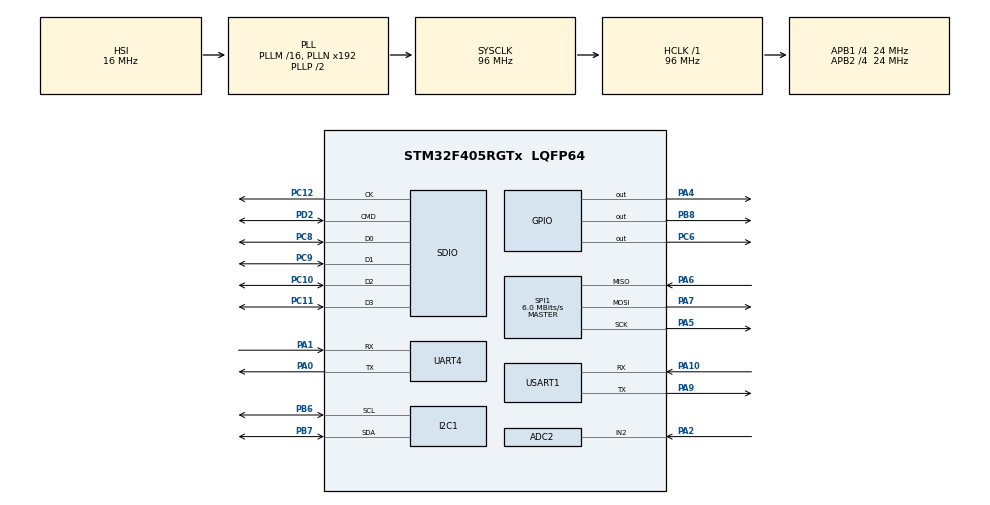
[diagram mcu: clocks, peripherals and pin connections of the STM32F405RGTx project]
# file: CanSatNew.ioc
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ADC2.Channel-0\#ChannelRegularConversion=ADC_CHANNEL_2
ADC2.ClockPrescaler=ADC_CLOCK_SYNC_PCLK_DIV2
ADC2.ContinuousConvMode=DISABLE
ADC2.DMAContinuousRequests=DISABLE
ADC2.DataAlign=ADC_DATAALIGN_RIGHT
ADC2.DiscontinuousConvMode=DISABLE
ADC2.EOCSelection=ADC_EOC_SINGLE_CONV
ADC2.EnableAnalogWatchDog=false
ADC2.ExternalTrigConv=ADC_SOFTWARE_START
ADC2.ExternalTrigConvEdge=ADC_EXTERNALTRIGCONVEDGE_NONE
ADC2.InjNumberOfConversion=0
ADC2.NbrOfConversion=1
ADC2.NbrOfConversionFlag=1
ADC2.Rank-0\#ChannelRegularConversion=1
ADC2.Resolution=ADC_RESOLUTION_12B
ADC2.SamplingTime-0\#ChannelRegularConversion=ADC_SAMPLETIME_3CYCLES
ADC2.ScanConvMode=DISABLE
FATFS.BSP.number=1
FATFS.USE_DMA_CODE_SD=0
FATFS0.BSP.STBoard=false
FATFS0.BSP.api=UnknownBspDriver
FATFS0.BSP.i2caddr=0
FATFS0.BSP.i2creg=0
FATFS0.BSP.instance=No Solution found
FATFS0.BSP.ip=GPIO
FATFS0.BSP.mode=Input
FATFS0.BSP.name=Detect_SDIO
FATFS0.BSP.solution=No Solution found
I2C1.DualAddressMode=I2C_DUALADDRESS_ENABLE
I2C1.NoStretchMode=I2C_NOSTRETCH_ENABLE
Mcu.Family=STM32F4
Mcu.Name=STM32F405RGTx
Mcu.Package=LQFP64
NVIC.PriorityGroup=NVIC_PRIORITYGROUP_4
NVIC.UART4_IRQn=true\:0\:0\:false\:false\:true\:true
PA0-WKUP.Mode=Asynchronous
PA0-WKUP.Signal=UART4_TX
PA1.Mode=Asynchronous
PA1.Signal=UART4_RX
PA10.Mode=Asynchronous
PA10.Signal=USART1_RX
PA13.Mode=JTAG_5_pins
PA13.Signal=SYS_JTMS-SWDIO
PA14.Mode=JTAG_5_pins
PA14.Signal=SYS_JTCK-SWCLK
PA15.Mode=JTAG_5_pins
PA15.Signal=SYS_JTDI
PA2.Signal=ADCx_IN2
PA4.GPIO_Speed=GPIO_SPEED_FREQ_VERY_HIGH
PA4.PinState=GPIO_PIN_SET
PA4.Signal=GPIO_Output
PA5.Mode=Full_Duplex_Master
PA5.Signal=SPI1_SCK
PA6.Mode=Full_Duplex_Master
PA6.Signal=SPI1_MISO
PA7.Mode=Full_Duplex_Master
PA7.Signal=SPI1_MOSI
PA9.Mode=Asynchronous
PA9.Signal=USART1_TX
PB3.Mode=JTAG_5_pins
PB3.Signal=SYS_JTDO-SWO
PB4.Mode=JTAG_5_pins
PB4.Signal=SYS_JTRST
PB6.Mode=I2C
PB6.Signal=I2C1_SCL
PB7.Mode=I2C
PB7.Signal=I2C1_SDA
PB8.GPIO_Speed=GPIO_SPEED_FREQ_VERY_HIGH
PB8.PinState=GPIO_PIN_SET
PB8.Signal=GPIO_Output
PC10.Mode=SD_4_bits_Wide_bus
PC10.Signal=SDIO_D2
PC11.Mode=SD_4_bits_Wide_bus
PC11.Signal=SDIO_D3
PC12.Mode=SD_4_bits_Wide_bus
PC12.Signal=SDIO_CK
PC6.Signal=GPIO_Output
PC8.Mode=SD_4_bits_Wide_bus
PC8.Signal=SDIO_D0
PC9.Mode=SD_4_bits_Wide_bus
PC9.Signal=SDIO_D1
PD2.Mode=SD_4_bits_Wide_bus
PD2.Signal=SDIO_CMD
ProjectManager.HeapSize=0x200
ProjectManager.StackSize=0x400
ProjectManager.TargetToolchain=TrueSTUDIO
RCC.48MHZClocksFreq_Value=27428571.42857143
RCC.AHBFreq_Value=96000000
RCC.APB1CLKDivider=RCC_HCLK_DIV4
RCC.APB1Freq_Value=24000000
RCC.APB1TimFreq_Value=48000000
RCC.APB2CLKDivider=RCC_HCLK_DIV4
RCC.APB2Freq_Value=24000000
RCC.APB2TimFreq_Value=48000000
RCC.CortexFreq_Value=96000000
RCC.HCLKFreq_Value=96000000
RCC.HSE_VALUE=8000000
RCC.HSI_VALUE=16000000
RCC.LSE_VALUE=32768
RCC.PLLQ=7
RCC.SYSCLKFreq_VALUE=96000000
RCC.SYSCLKSource=RCC_SYSCLKSOURCE_PLLCLK
RCC.VCOOutputFreq_Value=192000000
SH.ADCx_IN2.0=ADC2_IN2,IN2
SPI1.BaudRatePrescaler=SPI_BAUDRATEPRESCALER_4
SPI1.CalculateBaudRate=6.0 MBits/s
SPI1.Direction=SPI_DIRECTION_2LINES
SPI1.Mode=SPI_MODE_MASTER
SPI1.VirtualType=VM_MASTER
UART4.VirtualMode=Asynchronous
USART1.VirtualMode=VM_ASYNC
VP_FATFS_VS_SDIO.Mode=SDIO
board=CanSatNew

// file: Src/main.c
/**
  ******************************************************************************
  * @file           : main.c
  * @brief          : Main program body
  ******************************************************************************
  * This notice applies to any and all portions of this file
  * that are not between comment pairs USER CODE BEGIN and
  * USER CODE END. Other portions of this file, whether
  * inserted by the user or by software development tools
  * are owned by their respective copyright owners.
  *
  * Copyright (c) 2020 STMicroelectronics International N.V.
  * All rights reserved.
  *
  * Redistribution and use in source and binary forms, with or without
  * modification, are permitted, provided that the following conditions are met:
  *
  * 1. Redistribution of source code must retain the above copyright notice,
  *    this list of conditions and the following disclaimer.
  * 2. Redistributions in binary form must reproduce the above copyright notice,
  *    this list of conditions and the following disclaimer in the documentation
  *    and/or other materials provided with the distribution.
  * 3. Neither the name of STMicroelectronics nor the names of other
  *    contributors to this software may be used to endorse or promote products
  *    derived from this software without specific written permission.
  * 4. This software, including modifications and/or derivative works of this
  *    software, must execute solely and exclusively on microcontroller or
  *    microprocessor devices manufactured by or for STMicroelectronics.
  * 5. Redistribution and use of this software other than as permitted under
  *    this license is void and will automatically terminate your rights under
  *    this license.
  *
  * THIS SOFTWARE IS PROVIDED BY STMICROELECTRONICS AND CONTRIBUTORS "AS IS"
  * AND ANY EXPRESS, IMPLIED OR STATUTORY WARRANTIES, INCLUDING, BUT NOT
  * LIMITED TO, THE IMPLIED WARRANTIES OF MERCHANTABILITY, FITNESS FOR A
  * PARTICULAR PURPOSE AND NON-INFRINGEMENT OF THIRD PARTY INTELLECTUAL PROPERTY
  * RIGHTS ARE DISCLAIMED TO THE FULLEST EXTENT PERMITTED BY LAW. IN NO EVENT
  * SHALL STMICROELECTRONICS OR CONTRIBUTORS BE LIABLE FOR ANY DIRECT, INDIRECT,
  * INCIDENTAL, SPECIAL, EXEMPLARY, OR CONSEQUENTIAL DAMAGES (INCLUDING, BUT NOT
  * LIMITED TO, PROCUREMENT OF SUBSTITUTE GOODS OR SERVICES; LOSS OF USE, DATA,
  * OR PROFITS; OR BUSINESS INTERRUPTION) HOWEVER CAUSED AND ON ANY THEORY OF
  * LIABILITY, WHETHER IN CONTRACT, STRICT LIABILITY, OR TORT (INCLUDING
  * NEGLIGENCE OR OTHERWISE) ARISING IN ANY WAY OUT OF THE USE OF THIS SOFTWARE,
  * EVEN IF ADVISED OF THE POSSIBILITY OF SUCH DAMAGE.
  *
  ******************************************************************************
  */
#include "main.h"
#include "stm32f4xx_hal.h"
#include "adc.h"
#include "fatfs.h"
#include "i2c.h"
#include "sdio.h"
#include "spi.h"
#include "usart.h"
#include "gpio.h"

/* USER CODE BEGIN Includes */
#include "math.h"
#include "bmp280.h"
#include "bmi160.h"
// LORA
//#include "SX1278.h"
#include "lora_sx1276.h"
/* USER CODE END Includes */

/* USER CODE BEGIN PV */
/* Private variables ---------------------------------------------------------*/
char buf[128];
FATFS fs;
FIL file;
uint32_t byteswritten;
BMP280_HandleTypedef bmp280;
float temp, pres, humi, alti, s_pres;
struct bmi160_dev bmi160;
struct bmi160_sensor_data bmi160Accel, bmi160Gyro;
int usePhotoresist = 0;
/* USER CODE END PV */

void SystemClock_Config(void);

/* USER CODE BEGIN PFP */
/* Private function prototypes -----------------------------------------------*/

/* USER CODE END PFP */

/* USER CODE BEGIN 0 */
char gpsBuffer[650];
uint8_t h, m, s, ms;
// GPS
char rxCharBuf[700];
char *rxChars;
uint8_t rxBuffer[512];
uint16_t rxIndex;
uint8_t rxTmp;

// LORA
//uint16_t message,message_length;

void HAL_UART_RxCpltCallback(UART_HandleTypeDef *huart) {
  if(huart == &huart4) {
	if(rxIndex < 512) {
	  rxBuffer[rxIndex] = rxTmp;
	  rxIndex++;
	}
    HAL_UART_Receive_IT(&huart4, &rxTmp, 1);
  }
}

int8_t i2cWrite(uint8_t addr, uint8_t reg, uint8_t *data, uint16_t len) {
	HAL_StatusTypeDef status = HAL_I2C_Mem_Write(&hi2c1, addr << 1, reg, 1, (uint8_t*)data, len, 1000);
	return status;
}

int8_t i2cRead(uint8_t addr, uint8_t reg, uint8_t *data, uint16_t len) {
	HAL_StatusTypeDef status = HAL_I2C_Mem_Read(&hi2c1, addr << 1, reg, 1, (uint8_t*)data, len, 1000);
	return status;
}
/* USER CODE END 0 */

int main(void)
{

  /* MCU Configuration----------------------------------------------------------*/

  /* Reset of all peripherals, Initializes the Flash interface and the Systick. */
  HAL_Init();

  /* Configure the system clock */
  SystemClock_Config();

  /* Initialize all configured peripherals */
  MX_GPIO_Init();
  MX_I2C1_Init();
  MX_SDIO_SD_Init();
  MX_UART4_Init();
  MX_FATFS_Init();
  MX_USART1_UART_Init();
  MX_SPI1_Init();
  MX_ADC2_Init();
  /* USER CODE BEGIN 2 */
  //rxIndex = 0;
  //HAL_UART_Receive_IT(&huart4, &rxTmp, 1);

  /*bmi160.id = BMI160_I2C_ADDR;
  bmi160.interface = BMI160_I2C_INTF;
  bmi160.read = i2cRead;
  bmi160.write = i2cWrite;
  bmi160.delay_ms = HAL_Delay;
  int8_t result = BMI160_E_DEV_NOT_FOUND;
  result = bmi160_init(&bmi160);

  bmi160.accel_cfg.odr = BMI160_ACCEL_ODR_1600HZ;
  bmi160.accel_cfg.range = BMI160_ACCEL_RANGE_2G;
  bmi160.accel_cfg.bw = BMI160_ACCEL_BW_NORMAL_AVG4;
  bmi160.accel_cfg.power = BMI160_ACCEL_NORMAL_MODE;
  bmi160.gyro_cfg.odr = BMI160_GYRO_ODR_3200HZ;
  bmi160.gyro_cfg.range = BMI160_GYRO_RANGE_2000_DPS;
  bmi160.gyro_cfg.bw = BMI160_GYRO_BW_NORMAL_MODE;
  bmi160.gyro_cfg.power = BMI160_GYRO_NORMAL_MODE;
  result = bmi160_set_sens_conf(&bmi160);

  bmp280_init_default_params(&bmp280.params);
  bmp280.addr = BMP280_I2C_ADDRESS_0;
  bmp280.i2c = &hi2c1;
  bmp280_init(&bmp280, &bmp280.params);

  HAL_Delay(100);*/

  //bmp280_read_float(&bmp280, NULL, &s_pres, NULL);
  //s_pres /= 133.322F; // to mm Hg

  // LORA
  /*lora_sx1276 lora;
  lora.spi = &hspi1;
  lora.nss_port = GPIOA;
  lora.nss_pin = GPIO_PIN_4;
  lora.frequency = 434000000;
  lora.pa_mode = LORA_PA_OUTPUT_PA_BOOST;
  lora.tx_base_addr = LORA_DEFAULT_TX_ADDR;
  lora.rx_base_addr = LORA_DEFAULT_RX_ADDR;
  lora.spi_timeout = LORA_DEFAULT_SPI_TIMEOUT;

  HAL_GPIO_WritePin(GPIOB, GPIO_PIN_8, GPIO_PIN_RESET);
  HAL_Delay(1);
  HAL_GPIO_WritePin(GPIOB, GPIO_PIN_8, GPIO_PIN_SET);
  HAL_Delay(250);

  uint8_t mode = read_register(&lora, 0x01);
  HAL_Delay(250);
  uint8_t init = 0xAA;
  init = lora_init(&lora, &hspi1, GPIOA, GPIO_PIN_4, 434000000);*/
  // end

  /* USER CODE END 2 */

  /* Infinite loop */
  while (1)
  {

  /* USER CODE BEGIN 3 */
    //if(rxIndex == 512) {
	  	/*result = bmi160_get_sensor_data(BMI160_ACCEL_SEL | BMI160_GYRO_SEL, &bmi160Accel, &bmi160Gyro, &bmi160);
    	bmp280_read_float(&bmp280, &temp, &pres, &humi);

    	pres /= 133.322F; // to mm Hg
    	alti = 44330.0F * (1.0F - powf(pres / s_pres, 1.0F / 5.255F));
    	pres *= 133.322F; // to Pa

    	rxChars = (char*)rxBuffer;

    	float
		ax = (bmi160Accel.x * 2.0F) / 32768.0F,
		ay = (bmi160Accel.y * 2.0F) / 32768.0F,
		az = (bmi160Accel.z * 2.0F) / 32768.0F,
		gx = (bmi160Gyro.x * 2000.0F) / 32768.0F,
		gy = (bmi160Gyro.y * 2000.0F) / 32768.0F,
		gz = (bmi160Gyro.z * 2000.0F) / 32768.0F;

    	h = 0; m = 0; s = 0; ms = 0;*/
    	//memset(gpsBuffer, 0, sizeof(gpsBuffer));
    	//sprintf(gpsBuffer, "%s", rxChars); // если вместо %2d написать %2hhd в часах, то показывают только их
    	//sscanf(strstr(rxChars, "$GNGGA,"), "$GNGGA,%2d%2d%2d.%2d\r\n", &h, &m, &s, &ms);

    	/*sprintf(
    	  rxCharBuf,
		  "GPSDATA: %s; RMC: %d:%d:%d.%d, TIME: %d, TEMP: %.2fC, PRES: %.2fPa, HUMI: %.2f, ALTI: %.2fM, A: %.2f : %.2f : %.2f, G: %.2f : %.2f : %.2f;\r\n",
		  rxChars, h, m, s, ms, HAL_GetTick(), temp, pres, humi, alti, ax, ay, az, gx, gy, gz
    	);

    	f_mount(&fs, "", 0);
        f_open(&file, "file.txt", FA_OPEN_ALWAYS | FA_WRITE);
    	f_lseek(&file, f_size(&file));
    	f_write(&file, rxCharBuf, sizeof(rxCharBuf), &byteswritten);
    	f_close(&file);
    	f_mount(NULL, "", 0);*/

    	//rxChars = 0;
    	//memset(rxBuffer, 0, sizeof(rxBuffer));
    	//rxIndex = 0;
    //}
    //HAL_UART_Receive_IT(&huart4, &rxTmp, 1);
    //HAL_Delay(100);

    // LORA
	/*char dataBuf[64];
	uint8_t dataSize = sprintf(dataBuf, "HELLO!\r\n");
	uint8_t transmit = 0xAA;
	transmit = lora_send_packet_blocking(&lora, (uint8_t*)dataBuf, dataSize, 1000);

	uint16_t size = sprintf(rxCharBuf, "REG OP MODE : 0x%x\r\n LORA INIT: 0x%x\r\n LORA_TRANSMIT: 0x%x\r\n", mode, init, transmit);
	f_mount(&fs, "", 0);
	f_open(&file, "file.txt", FA_OPEN_ALWAYS | FA_WRITE);
	f_lseek(&file, f_size(&file));
	f_write(&file, rxCharBuf, size, &byteswritten);
	f_close(&file);
	f_mount(NULL, "", 0);
	HAL_Delay(500);*/

	// ADC Photoresistor
	HAL_ADCEx_InjectedStart(&hadc2);
	HAL_ADCEx_InjectedPollForConversion(&hadc2, 1000);
	uint32_t photoresistor = HAL_ADCEx_InjectedGetValue(&hadc2, 1);
	HAL_ADCEx_InjectedStop(&hadc2);

	// use photoresist for burning wire
	if(photoresistor >= 2000 && usePhotoresist == 0) {
		usePhotoresist = 1;
		// enable PC6
		HAL_GPIO_WritePin(GPIOC, GPIO_PIN_6, GPIO_PIN_SET);
		HAL_Delay(500);
		HAL_GPIO_WritePin(GPIOC, GPIO_PIN_6, GPIO_PIN_RESET);
		//
	}
	//

	uint16_t size = sprintf(rxCharBuf, "PHOTORESIST: %d\r\n", photoresistor);
	f_mount(&fs, "", 0);
	f_open(&file, "file.txt", FA_OPEN_ALWAYS | FA_WRITE);
	f_lseek(&file, f_size(&file));
	f_write(&file, rxCharBuf, size, &byteswritten);
	f_close(&file);
	f_mount(NULL, "", 0);

	HAL_Delay(100);
  }
  /* USER CODE END 3 */

}

void SystemClock_Config(void)
{

  RCC_OscInitTypeDef RCC_OscInitStruct;
  RCC_ClkInitTypeDef RCC_ClkInitStruct;

    /**Configure the main internal regulator output voltage
    */
  __HAL_RCC_PWR_CLK_ENABLE();

  __HAL_PWR_VOLTAGESCALING_CONFIG(PWR_REGULATOR_VOLTAGE_SCALE1);

    /**Initializes the CPU, AHB and APB busses clocks
    */
  RCC_OscInitStruct.OscillatorType = RCC_OSCILLATORTYPE_HSI;
  RCC_OscInitStruct.HSIState = RCC_HSI_ON;
  RCC_OscInitStruct.HSICalibrationValue = 16;
  RCC_OscInitStruct.PLL.PLLState = RCC_PLL_ON;
  RCC_OscInitStruct.PLL.PLLSource = RCC_PLLSOURCE_HSI;
  RCC_OscInitStruct.PLL.PLLM = 16;
  RCC_OscInitStruct.PLL.PLLN = 192;
  RCC_OscInitStruct.PLL.PLLP = RCC_PLLP_DIV2;
  RCC_OscInitStruct.PLL.PLLQ = 7;
  if (HAL_RCC_OscConfig(&RCC_OscInitStruct) != HAL_OK)
  {
    _Error_Handler(__FILE__, __LINE__);
  }

    /**Initializes the CPU, AHB and APB busses clocks
    */
  RCC_ClkInitStruct.ClockType = RCC_CLOCKTYPE_HCLK|RCC_CLOCKTYPE_SYSCLK
                              |RCC_CLOCKTYPE_PCLK1|RCC_CLOCKTYPE_PCLK2;
  RCC_ClkInitStruct.SYSCLKSource = RCC_SYSCLKSOURCE_PLLCLK;
  RCC_ClkInitStruct.AHBCLKDivider = RCC_SYSCLK_DIV1;
  RCC_ClkInitStruct.APB1CLKDivider = RCC_HCLK_DIV4;
  RCC_ClkInitStruct.APB2CLKDivider = RCC_HCLK_DIV4;

  if (HAL_RCC_ClockConfig(&RCC_ClkInitStruct, FLASH_LATENCY_3) != HAL_OK)
  {
    _Error_Handler(__FILE__, __LINE__);
  }

    /**Configure the Systick interrupt time
    */
  HAL_SYSTICK_Config(HAL_RCC_GetHCLKFreq()/1000);

    /**Configure the Systick
    */
  HAL_SYSTICK_CLKSourceConfig(SYSTICK_CLKSOURCE_HCLK);

  /* SysTick_IRQn interrupt configuration */
  HAL_NVIC_SetPriority(SysTick_IRQn, 0, 0);
}

void _Error_Handler(char *file, int line)
{
  while(1)
  {
  }
}

/************************ (C) COPYRIGHT STMicroelectronics *****END OF FILE****/
